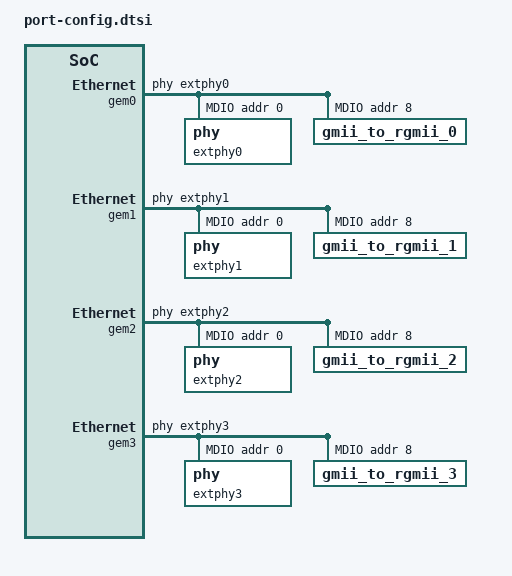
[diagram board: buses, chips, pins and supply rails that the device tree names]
// SPDX-License-Identifier: MIT
// Copyright (C) 2025-2026, Opsero Electronic Design Inc.  All rights reserved.

/*
 * Ethernet FMC Zynq GEM port config: ports-0123.
 *
 * Per-port external-PHY wiring (MAC address, phy-handle, MDIO bus, phy-mode)
 * layered on the SDT-generated Linux device tree. Selected per target by
 * Yocto/scripts/configure-build.sh from the target's lane-derived port config.
 */

&gem0 {
        local-mac-address = [00 0a 35 00 01 22];
        phy-handle = <&extphy0>;
        status = "okay";
        xlnx,has-mdio = <0x1>;
        psu_ethernet_0_mdio: mdio {
                #address-cells = <1>;
                #size-cells = <0>;
                extphy0: phy@0 {
                        device_type = "ethernet-phy";
                        reg = <0>;
                };
                gmii_to_rgmii_0: gmii_to_rgmii_0@8 {
                        phy-handle = <&extphy0>;
                        reg = <8>;
                };
        };
    };  
      
    &gem1 {
        local-mac-address = [00 0a 35 00 01 23];
        phy-handle = <&extphy1>;
        status = "okay";
        xlnx,has-mdio = <0x1>;
        psu_ethernet_1_mdio: mdio {
                #address-cells = <1>;
                #size-cells = <0>;
                extphy1: phy@0 {
                        device_type = "ethernet-phy";
                        reg = <0>;
                };
                gmii_to_rgmii_1: gmii_to_rgmii_1@8 {
                        phy-handle = <&extphy1>;
                        reg = <8>;
                };
        };
    };  
      
    &gem2 {
        local-mac-address = [00 0a 35 00 01 24];
        phy-handle = <&extphy2>;
        status = "okay";
        xlnx,has-mdio = <0x1>;
        psu_ethernet_2_mdio: mdio {
                #address-cells = <1>;
                #size-cells = <0>;
                extphy2: phy@0 {
                        device_type = "ethernet-phy";
                        reg = <0>;
                };
                gmii_to_rgmii_2: gmii_to_rgmii_2@8 {
                        phy-handle = <&extphy2>;
                        reg = <8>;
                };
        };
    };  
      
    &gem3 {
        /* Delete the pinctrl properties created by the board .dtsi file for gem3 */
        /* Board files are: zcu106-reva.dtsi and zcu104-revc.dtsi */
        
        /delete-property/ pinctrl-names;
        /delete-property/ pinctrl-0;
        
        local-mac-address = [00 0a 35 00 01 25];
        phy-handle = <&extphy3>;
        status = "okay";
        xlnx,has-mdio = <0x1>;
        psu_ethernet_3_mdio: mdio {
                #address-cells = <1>;
                #size-cells = <0>;
                extphy3: phy@0 {
                        device_type = "ethernet-phy";
                        reg = <0>;
                };
                gmii_to_rgmii_3: gmii_to_rgmii_3@8 {
                        phy-handle = <&extphy3>;
                        reg = <8>;
                };
        };
    };  
      
